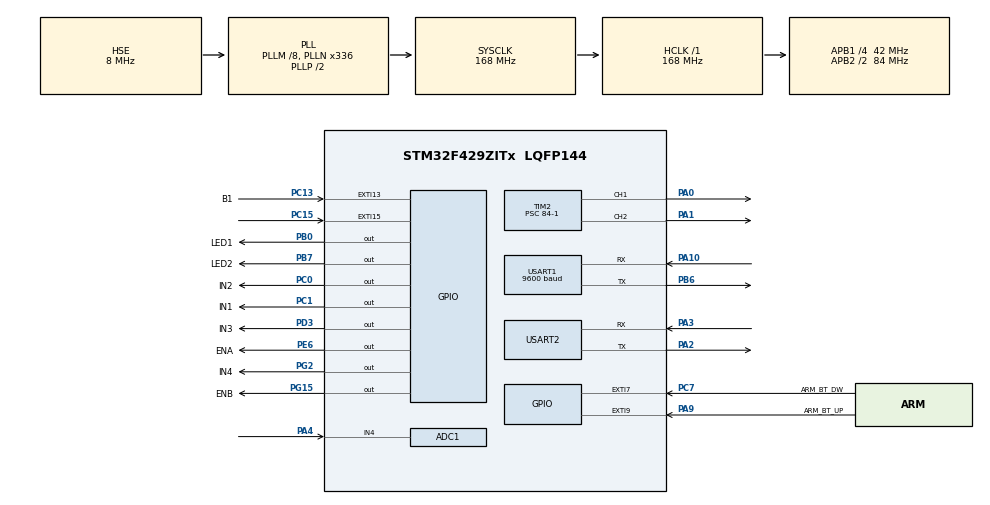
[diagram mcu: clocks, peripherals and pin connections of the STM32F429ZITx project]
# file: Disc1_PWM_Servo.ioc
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ADC1.Channel-0\#ChannelRegularConversion=ADC_CHANNEL_4
ADC1.ContinuousConvMode=ENABLE
ADC1.NbrOfConversionFlag=1
ADC1.Rank-0\#ChannelRegularConversion=1
ADC1.SamplingTime-0\#ChannelRegularConversion=ADC_SAMPLETIME_3CYCLES
ADC1.master=1
Mcu.Family=STM32F4
Mcu.Name=STM32F429ZITx
Mcu.Package=LQFP144
NVIC.ADC_IRQn=true\:0\:0\:false\:false\:true\:true\:true
NVIC.EXTI15_10_IRQn=true\:0\:0\:false\:true\:true\:1\:true\:true
NVIC.EXTI9_5_IRQn=true\:0\:0\:false\:false\:true\:true\:true
NVIC.PriorityGroup=NVIC_PRIORITYGROUP_4
NVIC.TIM2_IRQn=true\:0\:0\:false\:false\:true\:true\:true
NVIC.TIM3_IRQn=true\:0\:0\:false\:false\:true\:true\:true
NVIC.TIM4_IRQn=true\:0\:0\:false\:false\:true\:true\:true
NVIC.USART1_IRQn=true\:0\:0\:false\:false\:true\:true\:true
NVIC.USART2_IRQn=true\:0\:0\:false\:true\:true\:2\:true\:true
PA0/WKUP.GPIO_ModeDefaultPP=GPIO_MODE_AF_PP
PA0/WKUP.GPIO_PuPd=GPIO_NOPULL
PA0/WKUP.GPIO_Speed=GPIO_SPEED_FREQ_VERY_HIGH
PA0/WKUP.Signal=S_TIM2_CH1_ETR
PA1.GPIO_ModeDefaultPP=GPIO_MODE_AF_PP
PA1.GPIO_PuPd=GPIO_NOPULL
PA1.GPIO_Speed=GPIO_SPEED_FREQ_VERY_HIGH
PA1.Signal=S_TIM2_CH2
PA10.Mode=Asynchronous
PA10.Signal=USART1_RX
PA13.Mode=Serial_Wire
PA13.Signal=SYS_JTMS-SWDIO
PA14.Mode=Serial_Wire
PA14.Signal=SYS_JTCK-SWCLK
PA2.Mode=Asynchronous
PA2.Signal=USART2_TX
PA3.Mode=Asynchronous
PA3.Signal=USART2_RX
PA4.Signal=ADCx_IN4
PA9.GPIO_Label=ARM_BT_UP
PA9.GPIO_ModeDefaultEXTI=GPIO_MODE_IT_FALLING
PA9.GPIO_PuPd=GPIO_PULLDOWN
PA9.Signal=GPXTI9
PB0.GPIO_Label=LED1
PB0.Signal=GPIO_Output
PB6.Mode=Asynchronous
PB6.Signal=USART1_TX
PB7.GPIO_Label=LED2
PB7.Signal=GPIO_Output
PC0.GPIO_Label=IN2
PC0.GPIO_ModeDefaultOutputPP=GPIO_MODE_OUTPUT_PP
PC0.GPIO_PuPd=GPIO_NOPULL
PC0.GPIO_Speed=GPIO_SPEED_FREQ_VERY_HIGH
PC0.PinState=GPIO_PIN_RESET
PC0.Signal=GPIO_Output
PC1.GPIO_Label=IN1
PC1.GPIO_ModeDefaultOutputPP=GPIO_MODE_OUTPUT_PP
PC1.GPIO_PuPd=GPIO_NOPULL
PC1.GPIO_Speed=GPIO_SPEED_FREQ_VERY_HIGH
PC1.PinState=GPIO_PIN_RESET
PC1.Signal=GPIO_Output
PC13.GPIO_Label=B1
PC13.GPIO_ModeDefaultEXTI=GPIO_MODE_IT_RISING_FALLING
PC13.GPIO_PuPd=GPIO_NOPULL
PC13.Signal=GPXTI13
PC15/OSC32_OUT.Signal=GPXTI15
PC7.GPIO_Label=ARM_BT_DW
PC7.GPIO_ModeDefaultEXTI=GPIO_MODE_IT_RISING
PC7.GPIO_PuPd=GPIO_PULLDOWN
PC7.Signal=GPXTI7
PD3.GPIO_Label=IN3
PD3.GPIO_ModeDefaultOutputPP=GPIO_MODE_OUTPUT_PP
PD3.GPIO_PuPd=GPIO_NOPULL
PD3.GPIO_Speed=GPIO_SPEED_FREQ_VERY_HIGH
PD3.PinState=GPIO_PIN_RESET
PD3.Signal=GPIO_Output
PE6.GPIO_Label=ENA
PE6.GPIO_ModeDefaultOutputPP=GPIO_MODE_OUTPUT_PP
PE6.GPIO_PuPd=GPIO_NOPULL
PE6.GPIO_Speed=GPIO_SPEED_FREQ_VERY_HIGH
PE6.PinState=GPIO_PIN_RESET
PE6.Signal=GPIO_Output
PF7.GPIO_ModeDefaultPP=GPIO_MODE_AF_PP
PF7.GPIO_PuPd=GPIO_NOPULL
PF7.GPIO_Speed=GPIO_SPEED_FREQ_LOW
PF7.Signal=S_TIM11_CH1
PF9.GPIO_ModeDefaultPP=GPIO_MODE_AF_PP
PF9.GPIO_PuPd=GPIO_NOPULL
PF9.GPIO_Speed=GPIO_SPEED_FREQ_LOW
PF9.Signal=S_TIM14_CH1
PG15.GPIO_Label=ENB
PG15.GPIO_ModeDefaultOutputPP=GPIO_MODE_OUTPUT_PP
PG15.GPIO_PuPd=GPIO_NOPULL
PG15.GPIO_Speed=GPIO_SPEED_FREQ_VERY_HIGH
PG15.PinState=GPIO_PIN_RESET
PG15.Signal=GPIO_Output
PG2.GPIO_Label=IN4
PG2.GPIO_Speed=GPIO_SPEED_FREQ_VERY_HIGH
PG2.Signal=GPIO_Output
PH0/OSC_IN.Mode=HSE-External-Oscillator
PH0/OSC_IN.Signal=RCC_OSC_IN
PH1/OSC_OUT.Mode=HSE-External-Oscillator
PH1/OSC_OUT.Signal=RCC_OSC_OUT
ProjectManager.HeapSize=0x200
ProjectManager.StackSize=0x400
ProjectManager.TargetToolchain=EWARM V8.32
RCC.48MHZClocksFreq_Value=84000000
RCC.AHBFreq_Value=168000000
RCC.APB1CLKDivider=RCC_HCLK_DIV4
RCC.APB1Freq_Value=42000000
RCC.APB1TimFreq_Value=84000000
RCC.APB2CLKDivider=RCC_HCLK_DIV2
RCC.APB2Freq_Value=84000000
RCC.APB2TimFreq_Value=168000000
RCC.CortexFreq_Value=168000000
RCC.HCLKFreq_Value=168000000
RCC.HSE_VALUE=8000000
RCC.HSI_VALUE=16000000
RCC.LSE_VALUE=32768
RCC.PLLM=8
RCC.PLLN=336
RCC.PLLSourceVirtual=RCC_PLLSOURCE_HSE
RCC.SYSCLKFreq_VALUE=168000000
RCC.SYSCLKSource=RCC_SYSCLKSOURCE_PLLCLK
RCC.VCOOutputFreq_Value=336000000
SH.ADCx_IN4.0=ADC1_IN4,IN4
SH.S_TIM11_CH1.0=TIM11_CH1
SH.S_TIM14_CH1.0=TIM14_CH1
SH.S_TIM2_CH1_ETR.0=TIM2_CH1,PWM Generation1 CH1
SH.S_TIM2_CH2.0=TIM2_CH2,PWM Generation2 CH2
TIM2.AutoReloadPreload=TIM_AUTORELOAD_PRELOAD_ENABLE
TIM2.Channel-PWM\ Generation1\ CH1=TIM_CHANNEL_1
TIM2.Channel-PWM\ Generation2\ CH2=TIM_CHANNEL_2
TIM2.Period=20000-1
TIM2.Prescaler=84-1
TIM2.Pulse-PWM\ Generation1\ CH1=500
TIM2.Pulse-PWM\ Generation2\ CH2=500
TIM3.Channel-Output\ Compare1\ No\ Output=TIM_CHANNEL_1
TIM3.OCMode_1=TIM_OCMODE_TOGGLE
TIM3.Period=1000-1
TIM3.Prescaler=8400-1
TIM4.AutoReloadPreload=TIM_AUTORELOAD_PRELOAD_ENABLE
TIM4.Channel-Output\ Compare1\ No\ Output=TIM_CHANNEL_1
TIM4.Period=100-1
TIM4.Prescaler=840-1
TIM4.Pulse-Output\ Compare1\ No\ Output=1
USART1.BaudRate=9600
USART1.VirtualMode=VM_ASYNC
USART2.VirtualMode=VM_ASYNC
VP_TIM2_VS_ClockSourceINT.Mode=Internal
VP_TIM3_VS_ClockSourceINT.Mode=Internal
VP_TIM3_VS_no_output1.Mode=Output Compare1 No Output
VP_TIM4_VS_ClockSourceINT.Mode=Internal
VP_TIM4_VS_no_output1.Mode=Output Compare1 No Output
board=custom

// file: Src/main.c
/* USER CODE BEGIN Header */
/**
******************************************************************************
* @file           : main.c
* @brief          : Main program body
******************************************************************************
* @attention
*
* <h2><center>&copy; Copyright (c) 2020 STMicroelectronics.
* All rights reserved.</center></h2>
*
* This software component is licensed by ST under BSD 3-Clause license,
* the "License"; You may not use this file except in compliance with the
* License. You may obtain a copy of the License at:
*                        opensource.org/licenses/BSD-3-Clause
*
******************************************************************************
*/
/* USER CODE END Header */

#include "main.h"

/* USER CODE BEGIN Includes */
#include "angle.h"
#include "DeQueue.h"
#include "line.h"
#include <stdlib.h>
#include <string.h>
#include <stdio.h>
#include <time.h>

/* USER CODE END Includes */

/* USER CODE BEGIN PTD */
typedef enum{
  TRUE  =       1,
  FALSE =       0
}BOOL;

typedef enum{
  ARM_UP        =       00U,
  ARM_DOWN      =       !ARM_UP
}ARM_DETC;

typedef enum{
  START,
  CONTINUE,
  STOP
}sig_type;
/* USER CODE END PTD */

/* USER CODE BEGIN PD */
#define PROGRAM 2

#define _PROJEDCT 1
//#define FALSE 0
//#define TRUE !FALSE
#define MIN_ANG 500
#define MAX_ANG MIN_ANG + 2000
#define RESOLUTION (MAX_ANG - MIN_ANG)/180.0
#define ANG_SIZE 7

#define INIT_ANG 45.0

#define BUFF_SIZE 20

#define START_X -146.0
#define START_Y 32.0

#define HIGH GPIO_PIN_SET
#define LOW GPIO_PIN_RESET

#define ENA ENA_GPIO_Port,ENA_Pin
#define ENB ENB_GPIO_Port,ENB_Pin

#define IN1 IN1_GPIO_Port,IN1_Pin
#define IN2 IN2_GPIO_Port,IN2_Pin
#define IN3 IN3_GPIO_Port,IN3_Pin
#define IN4 IN4_GPIO_Port,IN4_Pin

#define LED1 LED1_GPIO_Port,LED1_Pin
#define LED2 LED2_GPIO_Port,LED2_Pin

#define WritePin(x,y) HAL_GPIO_WritePin(x,y)

//typedef unsigned int BOOL;

/* USER CODE END PD */

ADC_HandleTypeDef hadc1;

TIM_HandleTypeDef htim2;
TIM_HandleTypeDef htim3;
TIM_HandleTypeDef htim4;

UART_HandleTypeDef huart1;
UART_HandleTypeDef huart2;

/* USER CODE BEGIN PV */
BOOL dir = TRUE;
BOOL Ready_To_Rx = FALSE;
DEG position = {0.0,0.0};
XY before = {0.0,0.0};
int leng = 0;
Dequeue queue;

char move_str[30] = "0 0 1";
int len = 0;
int k = 0;
static XY goal = {0,0};

ARM_DETC B1_PR = ARM_UP;
int i = 0;
int z =0;

int inter_count = 0;

BOOL step = FALSE;
int index = 0;

sig_type flag_sig = CONTINUE;
int t = 0;

int mode = 0;

BOOL BOUNCE = FALSE;

/* USER CODE END PV */

void SystemClock_Config(void);
static void MX_GPIO_Init(void);
static void MX_TIM2_Init(void);
static void MX_USART2_UART_Init(void);
static void MX_TIM3_Init(void);
static void MX_TIM4_Init(void);
static void MX_ADC1_Init(void);
static void MX_USART1_UART_Init(void);
static void MX_NVIC_Init(void);
/* USER CODE BEGIN PFP */
void go_strt(XY set);
/* USER CODE END PFP */

/* USER CODE BEGIN 0 */
char Rx_Buffer[BUFF_SIZE];
char Rx_indx = 0, Rx_data[2] = {0}, EndOfTrans = 0;
int Rx_Size = 0;

double angle[ANG_SIZE] = {0,30,60,90,120,150,180};
char Rx_Buffer_4[BUFF_SIZE]="0 0 0";
char RX_data[2] = {0};

//int mode = 1;
#define p(x) Rx_Buffer_4[++index] = x+0x30;
BOOL checkrange(XY endeffecter);
int x_t = 0 , y_t = 0;
BOOL flag2 = FALSE;

int step_count = 0;
int step_motor(int stp)
{
  step_count = (stp+8)%8;
  switch(step_count){
  case 0:
    WritePin(IN1,HIGH);
    WritePin(IN2,LOW);
    WritePin(IN3,HIGH);
    WritePin(IN4,LOW);
    break;

  case 1:
    WritePin(IN1,LOW);
    WritePin(IN2,LOW);
    WritePin(IN3,HIGH);
    WritePin(IN4,LOW);
    break;

  case 2:
    WritePin(IN1,LOW);
    WritePin(IN2,HIGH);
    WritePin(IN3,HIGH);
    WritePin(IN4,LOW);
    break;

  case 3:
    WritePin(IN1,LOW);
    WritePin(IN2,HIGH);
    WritePin(IN3,LOW);
    WritePin(IN4,LOW);
    break;

  case 4:
    WritePin(IN1,LOW);
    WritePin(IN2,HIGH);
    WritePin(IN3,LOW);
    WritePin(IN4,HIGH);
    break;

  case 5:
    WritePin(IN1,LOW);
    WritePin(IN2,LOW);
    WritePin(IN3,LOW);
    WritePin(IN4,HIGH);
    break;

  case 6:
    WritePin(IN1,HIGH);
    WritePin(IN2,LOW);
    WritePin(IN3,LOW);
    WritePin(IN4,HIGH);
    break;

  case 7:
    WritePin(IN1,HIGH);
    WritePin(IN2,LOW);
    WritePin(IN3,LOW);
    WritePin(IN4,LOW);
  }
  HAL_Delay(2-1);
  return step_count;
}

void TEST(void)
{
  sprintf(Rx_Buffer_4,"%d %d %d",x_t,y_t,inter_count);
  leng = strlen(Rx_Buffer_4);
#if PROGRAM == 2
  insert(&queue,Rx_Buffer_4);
#endif
  if(y_t == 100)
    flag2 =TRUE;
  if(y_t == 0)
    flag2 = FALSE;
  if(!flag2)
    x_t++, y_t++;
  else
    x_t--,y_t--;
#if PROGRAM == 1
  HAL_Delay(100);
#endif
  Ready_To_Rx = TRUE;
}

void Check()
{
  if( HAL_GPIO_ReadPin(ARM_BT_UP_GPIO_Port,ARM_BT_UP_Pin) == HIGH )
  {
    B1_PR = ARM_DOWN;
    WritePin(LED2,HIGH);
  }
  if( HAL_GPIO_ReadPin(ARM_BT_DW_GPIO_Port,ARM_BT_DW_Pin) == LOW )
  {
    B1_PR = ARM_UP;
    WritePin(LED2,LOW);
  }
}

void ReceiveData()
{
  goal.x = 0;
  goal.y = 0;

  if (is_empty(&queue) == NOT_EMPTY && Ready_To_Rx == TRUE)
  {

      strcpy(move_str, delete_front(&queue));
      len = strlen(move_str);

      int status = 1;
      goal.x = 0;
      goal.y = 0;

      z = 0;
      int format = 1;
      for (int i = len - 1; i >= 0; i--)
      {
        if (move_str[i] == ' ')
        {
          status++;
          i--;
          format = 1;
        }
        switch (status)
        {
        case 1://z
          k = move_str[i] - 0x30;
          z = k;
          //format *= 10;
          break;
        case 2://y
          if(move_str[i] == '-')
            goal.y = -goal.y;
          else{
            k = move_str[i] - 0x30;
            goal.y += (k)*format;
            format *= 10;}
          break;
        case 3://x
          if(move_str[i] == '-')
            goal.x = -goal.x;
          else{
            k = move_str[i] - 0x30;
            goal.x += (k)*format;
            format *= 10;}
        }
      }
//      goal = convert(goal);
//      position = xy_ang(goal.x, goal.y);

      if(z == 1)
      {
        goal = convert(goal);
        position = xy_ang(goal.x, goal.y);

        while(B1_PR == ARM_DOWN)//�� �ø�
        {
          i = step_motor(--i);
        }
        if(flag_sig == START)
          for(int j = 700 ; j >= 0; j--){
            i = step_motor(--i);
          }

        flag_sig = START;

        position.seta1 = INIT_ANG + rad_deg(position.seta1);
        position.seta2 =  rad_deg(position.seta2);

        def_CCR1(position.seta1); //���̵�
        def_CCR2(position.seta2);
        HAL_Delay(1000);

        while(B1_PR == ARM_UP)//�� ����
        {
          i = step_motor(++i);
          Check();
        }
        while(B1_PR == ARM_DOWN)//�� �ø�
        {
          i = step_motor(--i);
          Check();
        }
      }
      else
      {
        if(z == 2)
        {
          while(t!=500) //�� �ø�
          {
            i = step_motor(--i);
            t++;
          }
        }
        if(z == 0)
        {
          t = 0;
        }
        //move_line(goal);

        goal = convert(goal);
        position = xy_ang(goal.x, goal.y);

        position.seta1 = INIT_ANG + rad_deg(position.seta1);
        position.seta2 = /*-90.0 +*/ rad_deg(position.seta2);
        def_CCR1(position.seta1);
        def_CCR2(position.seta2);
        HAL_Delay(100-1);
        while(B1_PR == ARM_UP)//�� ����
        {
          i = step_motor(++i);
          Check();
        }
        while(B1_PR == ARM_DOWN)//�� �ø�
        {
          i = step_motor(--i);
          Check();
        }
        for(int j = 0 ; j < 45 ; j++)//�� �ø� ���� ������ ���Ҽ��� ���� �߰�
        {
          i = step_motor(--i);
        }
      }
      goal.x = 0; goal.y = 0;
      leng = 0;
  }
  else if(is_empty(&queue) == EMPTY && Ready_To_Rx == TRUE)
  {
    Ready_To_Rx = FALSE;
    flag_sig = STOP;
    init_dqueue(&queue);
  }
}

void ReceiveData_1()
{
  goal.x = 0;
  goal.y = 0;

  if (is_empty(&queue) == NOT_EMPTY && Ready_To_Rx == TRUE)
  {

      strcpy(move_str, delete_front(&queue));
      len = strlen(move_str);

      int status = 1;
      goal.x = 0;
      goal.y = 0;

      z = 0;
      int format = 1;
      for (int i = len - 1; i >= 0; i--)
      {
        if (move_str[i] == ' ')
        {
          status++;
          i--;
          format = 1;
        }
        switch (status)
        {
        case 1://z
          k = move_str[i] - 0x30;
          z = k;
          //format *= 10;
          break;
        case 2://y
          if(move_str[i] == '-')
            goal.y = -goal.y;
          else{
            k = move_str[i] - 0x30;
            goal.y += (k)*format;
            format *= 10;}
          break;
        case 3://x
          if(move_str[i] == '-')
            goal.x = -goal.x;
          else{
            k = move_str[i] - 0x30;
            goal.x += (k)*format;
            format *= 10;}
        }
      }
//      goal = convert(goal);
//      position = xy_ang(goal.x, goal.y);

      if(z == 1)
      {
        //**
        before = goal;
        //**

        goal = convert(goal);
        position = xy_ang(goal.x, goal.y);

        while(B1_PR == ARM_DOWN)//�� �ø�
        {
          i = step_motor(--i);
        }
        if(flag_sig == START)
          for(int j = 700 ; j >= 0; j--){
            i = step_motor(--i);
          }

        flag_sig = START;

        position.seta1 = INIT_ANG + rad_deg(position.seta1);
        position.seta2 =  rad_deg(position.seta2);

        def_CCR1(position.seta1); //���̵�
        def_CCR2(position.seta2);
        HAL_Delay(1000);

        while(B1_PR == ARM_UP)//�� ����
        {
          i = step_motor(++i);
          Check();
        }
        while(B1_PR == ARM_DOWN)//�� �ø�
        {
          i = step_motor(--i);
          Check();
        }
      }
      else
      {
        if(z == 2)
        {
          while(t!=500) //�� �ø�
          {
            i = step_motor(--i);
            t++;
          }
        }
        if(z == 0)
        {
          t = 0;
        }
        /*
              �̰��� �������� �̾��ִ� �Լ� �߰�
        */

       draw_line(&before,&goal);
       before = goal;

        //////////////////////////////////////////////////////
//        goal = convert(goal);
//        position = xy_ang(goal.x, goal.y);
//
//        position.seta1 = INIT_ANG + rad_deg(position.seta1);
//        position.seta2 = /*-90.0 +*/ rad_deg(position.seta2);
//        def_CCR1(position.seta1);
//        def_CCR2(position.seta2);
        HAL_Delay(100-1);
        while(B1_PR == ARM_UP)//�� ����
        {
          i = step_motor(++i);
          Check();
        }
        while(B1_PR == ARM_DOWN)//�� �ø�
        {
          i = step_motor(--i);
          Check();
        }
        for(int j = 0 ; j < 45 ; j++)//�� �ø� ���� ������ ���Ҽ��� ���� �߰�
        {
          i = step_motor(--i);
        }
      }
      goal.x = 0; goal.y = 0;
      leng = 0;
  }
  else if(is_empty(&queue) == EMPTY && Ready_To_Rx == TRUE)
  {
    Ready_To_Rx = FALSE;
    flag_sig = STOP;
    init_dqueue(&queue);
  }
}

/* USER CODE END 0 */

int main(void)
{

  /* MCU Configuration--------------------------------------------------------*/

  /* Reset of all peripherals, Initializes the Flash interface and the Systick. */
  HAL_Init();

  /* Configure the system clock */
  SystemClock_Config();

  /* Initialize all configured peripherals */
  MX_GPIO_Init();
  MX_TIM2_Init();
  MX_USART2_UART_Init();
  MX_TIM3_Init();
  MX_TIM4_Init();
  MX_ADC1_Init();
  MX_USART1_UART_Init();

  /* Initialize interrupts */
  MX_NVIC_Init();
  /* USER CODE BEGIN 2 */

  init_dqueue(&queue);

  volatile int a = 0;

  HAL_TIM_PWM_Start(&htim2, TIM_CHANNEL_1);
  HAL_TIM_PWM_Start(&htim2, TIM_CHANNEL_2);

 def_CCR1(0); def_CCR2(0);

  goal = convert(goal);
  position = xy_ang(goal.x, goal.y);

  position.seta1 = INIT_ANG + rad_deg(position.seta1);
  position.seta2 = rad_deg(position.seta2);

  def_CCR1(position.seta1);
  def_CCR2(position.seta2);

  HAL_UART_Receive_IT(&huart2,(uint8_t*)Rx_Buffer,1);
  HAL_UART_Receive_IT(&huart1,(uint8_t*)Rx_Buffer,1);
  HAL_TIM_Base_Start_IT(&htim4);

  B1_PR = ARM_UP;
  /* USER CODE END 2 */

  /* Infinite loop */
  while (1)
  {

    /* USER CODE BEGIN 3 */
#if PROGRAM == 1
    ReceiveData_2();
#elif PROGRAM == 2
    if(flag_sig == STOP)
    {
      while(mode != 800) //�� �ø�
      {
        i = step_motor(--i);
        mode++;
      }
      mode = 0;
      goal.x = goal.y = 0.0;
      goal = convert(goal);
      position = xy_ang(goal.x, goal.y);

      position.seta1 = INIT_ANG + rad_deg(position.seta1);
      position.seta2 = rad_deg(position.seta2);

      def_CCR1(position.seta1);
      def_CCR2(position.seta2);
      HAL_UART_Receive_IT(&huart2,(uint8_t*)Rx_Buffer,1);
      HAL_UART_Receive_IT(&huart1,(uint8_t*)Rx_Buffer,1);
      flag_sig = CONTINUE;
    }
    ReceiveData();
    //    def_CCR1(0); def_CCR2(0);
#endif

  }
  /* USER CODE END 3 */
}

void SystemClock_Config(void)
{
  RCC_OscInitTypeDef RCC_OscInitStruct = {0};
  RCC_ClkInitTypeDef RCC_ClkInitStruct = {0};

  /** Configure the main internal regulator output voltage
  */
  __HAL_RCC_PWR_CLK_ENABLE();
  __HAL_PWR_VOLTAGESCALING_CONFIG(PWR_REGULATOR_VOLTAGE_SCALE1);
  /** Initializes the CPU, AHB and APB busses clocks
  */
  RCC_OscInitStruct.OscillatorType = RCC_OSCILLATORTYPE_HSE;
  RCC_OscInitStruct.HSEState = RCC_HSE_ON;
  RCC_OscInitStruct.PLL.PLLState = RCC_PLL_ON;
  RCC_OscInitStruct.PLL.PLLSource = RCC_PLLSOURCE_HSE;
  RCC_OscInitStruct.PLL.PLLM = 8;
  RCC_OscInitStruct.PLL.PLLN = 336;
  RCC_OscInitStruct.PLL.PLLP = RCC_PLLP_DIV2;
  RCC_OscInitStruct.PLL.PLLQ = 4;
  if (HAL_RCC_OscConfig(&RCC_OscInitStruct) != HAL_OK)
  {
    Error_Handler();
  }
  /** Initializes the CPU, AHB and APB busses clocks
  */
  RCC_ClkInitStruct.ClockType = RCC_CLOCKTYPE_HCLK|RCC_CLOCKTYPE_SYSCLK
                              |RCC_CLOCKTYPE_PCLK1|RCC_CLOCKTYPE_PCLK2;
  RCC_ClkInitStruct.SYSCLKSource = RCC_SYSCLKSOURCE_PLLCLK;
  RCC_ClkInitStruct.AHBCLKDivider = RCC_SYSCLK_DIV1;
  RCC_ClkInitStruct.APB1CLKDivider = RCC_HCLK_DIV4;
  RCC_ClkInitStruct.APB2CLKDivider = RCC_HCLK_DIV2;

  if (HAL_RCC_ClockConfig(&RCC_ClkInitStruct, FLASH_LATENCY_5) != HAL_OK)
  {
    Error_Handler();
  }
}

/**
  * @brief NVIC Configuration.
  * @retval None
  */
static void MX_NVIC_Init(void)
{
  /* EXTI15_10_IRQn interrupt configuration */
  HAL_NVIC_SetPriority(EXTI15_10_IRQn, 0, 0);
  HAL_NVIC_EnableIRQ(EXTI15_10_IRQn);
  /* USART2_IRQn interrupt configuration */
  HAL_NVIC_SetPriority(USART2_IRQn, 0, 0);
  HAL_NVIC_EnableIRQ(USART2_IRQn);
}

static void MX_ADC1_Init(void)
{

  ADC_ChannelConfTypeDef sConfig = {0};

  /** Configure the global features of the ADC (Clock, Resolution, Data Alignment and number of conversion)
  */
  hadc1.Instance = ADC1;
  hadc1.Init.ClockPrescaler = ADC_CLOCK_SYNC_PCLK_DIV4;
  hadc1.Init.Resolution = ADC_RESOLUTION_12B;
  hadc1.Init.ScanConvMode = DISABLE;
  hadc1.Init.ContinuousConvMode = ENABLE;
  hadc1.Init.DiscontinuousConvMode = DISABLE;
  hadc1.Init.ExternalTrigConvEdge = ADC_EXTERNALTRIGCONVEDGE_NONE;
  hadc1.Init.ExternalTrigConv = ADC_SOFTWARE_START;
  hadc1.Init.DataAlign = ADC_DATAALIGN_RIGHT;
  hadc1.Init.NbrOfConversion = 1;
  hadc1.Init.DMAContinuousRequests = DISABLE;
  hadc1.Init.EOCSelection = ADC_EOC_SINGLE_CONV;
  if (HAL_ADC_Init(&hadc1) != HAL_OK)
  {
    Error_Handler();
  }
  /** Configure for the selected ADC regular channel its corresponding rank in the sequencer and its sample time.
  */
  sConfig.Channel = ADC_CHANNEL_4;
  sConfig.Rank = 1;
  sConfig.SamplingTime = ADC_SAMPLETIME_3CYCLES;
  if (HAL_ADC_ConfigChannel(&hadc1, &sConfig) != HAL_OK)
  {
    Error_Handler();
  }

}

static void MX_TIM2_Init(void)
{

  TIM_ClockConfigTypeDef sClockSourceConfig = {0};
  TIM_MasterConfigTypeDef sMasterConfig = {0};
  TIM_OC_InitTypeDef sConfigOC = {0};

  htim2.Instance = TIM2;
  htim2.Init.Prescaler = 84-1;
  htim2.Init.CounterMode = TIM_COUNTERMODE_UP;
  htim2.Init.Period = 20000-1;
  htim2.Init.ClockDivision = TIM_CLOCKDIVISION_DIV1;
  htim2.Init.AutoReloadPreload = TIM_AUTORELOAD_PRELOAD_ENABLE;
  if (HAL_TIM_Base_Init(&htim2) != HAL_OK)
  {
    Error_Handler();
  }
  sClockSourceConfig.ClockSource = TIM_CLOCKSOURCE_INTERNAL;
  if (HAL_TIM_ConfigClockSource(&htim2, &sClockSourceConfig) != HAL_OK)
  {
    Error_Handler();
  }
  if (HAL_TIM_PWM_Init(&htim2) != HAL_OK)
  {
    Error_Handler();
  }
  sMasterConfig.MasterOutputTrigger = TIM_TRGO_RESET;
  sMasterConfig.MasterSlaveMode = TIM_MASTERSLAVEMODE_DISABLE;
  if (HAL_TIMEx_MasterConfigSynchronization(&htim2, &sMasterConfig) != HAL_OK)
  {
    Error_Handler();
  }
  sConfigOC.OCMode = TIM_OCMODE_PWM1;
  sConfigOC.Pulse = 500;
  sConfigOC.OCPolarity = TIM_OCPOLARITY_HIGH;
  sConfigOC.OCFastMode = TIM_OCFAST_DISABLE;
  if (HAL_TIM_PWM_ConfigChannel(&htim2, &sConfigOC, TIM_CHANNEL_1) != HAL_OK)
  {
    Error_Handler();
  }
  if (HAL_TIM_PWM_ConfigChannel(&htim2, &sConfigOC, TIM_CHANNEL_2) != HAL_OK)
  {
    Error_Handler();
  }
  HAL_TIM_MspPostInit(&htim2);

}

static void MX_TIM3_Init(void)
{

  TIM_ClockConfigTypeDef sClockSourceConfig = {0};
  TIM_MasterConfigTypeDef sMasterConfig = {0};
  TIM_OC_InitTypeDef sConfigOC = {0};

  htim3.Instance = TIM3;
  htim3.Init.Prescaler = 8400-1;
  htim3.Init.CounterMode = TIM_COUNTERMODE_UP;
  htim3.Init.Period = 1000-1;
  htim3.Init.ClockDivision = TIM_CLOCKDIVISION_DIV1;
  htim3.Init.AutoReloadPreload = TIM_AUTORELOAD_PRELOAD_DISABLE;
  if (HAL_TIM_Base_Init(&htim3) != HAL_OK)
  {
    Error_Handler();
  }
  sClockSourceConfig.ClockSource = TIM_CLOCKSOURCE_INTERNAL;
  if (HAL_TIM_ConfigClockSource(&htim3, &sClockSourceConfig) != HAL_OK)
  {
    Error_Handler();
  }
  if (HAL_TIM_OC_Init(&htim3) != HAL_OK)
  {
    Error_Handler();
  }
  sMasterConfig.MasterOutputTrigger = TIM_TRGO_RESET;
  sMasterConfig.MasterSlaveMode = TIM_MASTERSLAVEMODE_DISABLE;
  if (HAL_TIMEx_MasterConfigSynchronization(&htim3, &sMasterConfig) != HAL_OK)
  {
    Error_Handler();
  }
  sConfigOC.OCMode = TIM_OCMODE_TOGGLE;
  sConfigOC.Pulse = 0;
  sConfigOC.OCPolarity = TIM_OCPOLARITY_HIGH;
  sConfigOC.OCFastMode = TIM_OCFAST_DISABLE;
  if (HAL_TIM_OC_ConfigChannel(&htim3, &sConfigOC, TIM_CHANNEL_1) != HAL_OK)
  {
    Error_Handler();
  }

}

static void MX_TIM4_Init(void)
{

  TIM_ClockConfigTypeDef sClockSourceConfig = {0};
  TIM_MasterConfigTypeDef sMasterConfig = {0};
  TIM_OC_InitTypeDef sConfigOC = {0};

  htim4.Instance = TIM4;
  htim4.Init.Prescaler = 840-1;
  htim4.Init.CounterMode = TIM_COUNTERMODE_UP;
  htim4.Init.Period = 100-1;
  htim4.Init.ClockDivision = TIM_CLOCKDIVISION_DIV1;
  htim4.Init.AutoReloadPreload = TIM_AUTORELOAD_PRELOAD_ENABLE;
  if (HAL_TIM_Base_Init(&htim4) != HAL_OK)
  {
    Error_Handler();
  }
  sClockSourceConfig.ClockSource = TIM_CLOCKSOURCE_INTERNAL;
  if (HAL_TIM_ConfigClockSource(&htim4, &sClockSourceConfig) != HAL_OK)
  {
    Error_Handler();
  }
  if (HAL_TIM_OC_Init(&htim4) != HAL_OK)
  {
    Error_Handler();
  }
  sMasterConfig.MasterOutputTrigger = TIM_TRGO_RESET;
  sMasterConfig.MasterSlaveMode = TIM_MASTERSLAVEMODE_DISABLE;
  if (HAL_TIMEx_MasterConfigSynchronization(&htim4, &sMasterConfig) != HAL_OK)
  {
    Error_Handler();
  }
  sConfigOC.OCMode = TIM_OCMODE_TIMING;
  sConfigOC.Pulse = 1;
  sConfigOC.OCPolarity = TIM_OCPOLARITY_HIGH;
  sConfigOC.OCFastMode = TIM_OCFAST_DISABLE;
  if (HAL_TIM_OC_ConfigChannel(&htim4, &sConfigOC, TIM_CHANNEL_1) != HAL_OK)
  {
    Error_Handler();
  }

}

static void MX_USART1_UART_Init(void)
{

  huart1.Instance = USART1;
  huart1.Init.BaudRate = 9600;
  huart1.Init.WordLength = UART_WORDLENGTH_8B;
  huart1.Init.StopBits = UART_STOPBITS_1;
  huart1.Init.Parity = UART_PARITY_NONE;
  huart1.Init.Mode = UART_MODE_TX_RX;
  huart1.Init.HwFlowCtl = UART_HWCONTROL_NONE;
  huart1.Init.OverSampling = UART_OVERSAMPLING_16;
  if (HAL_UART_Init(&huart1) != HAL_OK)
  {
    Error_Handler();
  }

}

static void MX_USART2_UART_Init(void)
{

  huart2.Instance = USART2;
  huart2.Init.BaudRate = 115200;
  huart2.Init.WordLength = UART_WORDLENGTH_8B;
  huart2.Init.StopBits = UART_STOPBITS_1;
  huart2.Init.Parity = UART_PARITY_NONE;
  huart2.Init.Mode = UART_MODE_TX_RX;
  huart2.Init.HwFlowCtl = UART_HWCONTROL_NONE;
  huart2.Init.OverSampling = UART_OVERSAMPLING_16;
  if (HAL_UART_Init(&huart2) != HAL_OK)
  {
    Error_Handler();
  }

}

static void MX_GPIO_Init(void)
{
  GPIO_InitTypeDef GPIO_InitStruct = {0};

  /* GPIO Ports Clock Enable */
  __HAL_RCC_GPIOE_CLK_ENABLE();
  __HAL_RCC_GPIOC_CLK_ENABLE();
  __HAL_RCC_GPIOF_CLK_ENABLE();
  __HAL_RCC_GPIOH_CLK_ENABLE();
  __HAL_RCC_GPIOA_CLK_ENABLE();
  __HAL_RCC_GPIOB_CLK_ENABLE();
  __HAL_RCC_GPIOG_CLK_ENABLE();
  __HAL_RCC_GPIOD_CLK_ENABLE();

  /*Configure GPIO pin Output Level */
  HAL_GPIO_WritePin(ENA_GPIO_Port, ENA_Pin, GPIO_PIN_RESET);

  /*Configure GPIO pin Output Level */
  HAL_GPIO_WritePin(GPIOC, IN2_Pin|IN1_Pin, GPIO_PIN_RESET);

  /*Configure GPIO pin Output Level */
  HAL_GPIO_WritePin(GPIOB, LED1_Pin|LED2_Pin, GPIO_PIN_RESET);

  /*Configure GPIO pin Output Level */
  HAL_GPIO_WritePin(GPIOG, IN4_Pin|ENB_Pin, GPIO_PIN_RESET);

  /*Configure GPIO pin Output Level */
  HAL_GPIO_WritePin(IN3_GPIO_Port, IN3_Pin, GPIO_PIN_RESET);

  /*Configure GPIO pin : ENA_Pin */
  GPIO_InitStruct.Pin = ENA_Pin;
  GPIO_InitStruct.Mode = GPIO_MODE_OUTPUT_PP;
  GPIO_InitStruct.Pull = GPIO_NOPULL;
  GPIO_InitStruct.Speed = GPIO_SPEED_FREQ_VERY_HIGH;
  HAL_GPIO_Init(ENA_GPIO_Port, &GPIO_InitStruct);

  /*Configure GPIO pin : B1_Pin */
  GPIO_InitStruct.Pin = B1_Pin;
  GPIO_InitStruct.Mode = GPIO_MODE_IT_RISING_FALLING;
  GPIO_InitStruct.Pull = GPIO_NOPULL;
  HAL_GPIO_Init(B1_GPIO_Port, &GPIO_InitStruct);

  /*Configure GPIO pin : PC15 */
  GPIO_InitStruct.Pin = GPIO_PIN_15;
  GPIO_InitStruct.Mode = GPIO_MODE_IT_RISING;
  GPIO_InitStruct.Pull = GPIO_NOPULL;
  HAL_GPIO_Init(GPIOC, &GPIO_InitStruct);

  /*Configure GPIO pin : PF7 */
  GPIO_InitStruct.Pin = GPIO_PIN_7;
  GPIO_InitStruct.Mode = GPIO_MODE_AF_PP;
  GPIO_InitStruct.Pull = GPIO_NOPULL;
  GPIO_InitStruct.Speed = GPIO_SPEED_FREQ_LOW;
  GPIO_InitStruct.Alternate = GPIO_AF3_TIM11;
  HAL_GPIO_Init(GPIOF, &GPIO_InitStruct);

  /*Configure GPIO pin : PF9 */
  GPIO_InitStruct.Pin = GPIO_PIN_9;
  GPIO_InitStruct.Mode = GPIO_MODE_AF_PP;
  GPIO_InitStruct.Pull = GPIO_NOPULL;
  GPIO_InitStruct.Speed = GPIO_SPEED_FREQ_LOW;
  GPIO_InitStruct.Alternate = GPIO_AF9_TIM14;
  HAL_GPIO_Init(GPIOF, &GPIO_InitStruct);

  /*Configure GPIO pins : IN2_Pin IN1_Pin */
  GPIO_InitStruct.Pin = IN2_Pin|IN1_Pin;
  GPIO_InitStruct.Mode = GPIO_MODE_OUTPUT_PP;
  GPIO_InitStruct.Pull = GPIO_NOPULL;
  GPIO_InitStruct.Speed = GPIO_SPEED_FREQ_VERY_HIGH;
  HAL_GPIO_Init(GPIOC, &GPIO_InitStruct);

  /*Configure GPIO pins : LED1_Pin LED2_Pin */
  GPIO_InitStruct.Pin = LED1_Pin|LED2_Pin;
  GPIO_InitStruct.Mode = GPIO_MODE_OUTPUT_PP;
  GPIO_InitStruct.Pull = GPIO_NOPULL;
  GPIO_InitStruct.Speed = GPIO_SPEED_FREQ_LOW;
  HAL_GPIO_Init(GPIOB, &GPIO_InitStruct);

  /*Configure GPIO pins : IN4_Pin ENB_Pin */
  GPIO_InitStruct.Pin = IN4_Pin|ENB_Pin;
  GPIO_InitStruct.Mode = GPIO_MODE_OUTPUT_PP;
  GPIO_InitStruct.Pull = GPIO_NOPULL;
  GPIO_InitStruct.Speed = GPIO_SPEED_FREQ_VERY_HIGH;
  HAL_GPIO_Init(GPIOG, &GPIO_InitStruct);

  /*Configure GPIO pin : ARM_BT_DW_Pin */
  GPIO_InitStruct.Pin = ARM_BT_DW_Pin;
  GPIO_InitStruct.Mode = GPIO_MODE_IT_RISING;
  GPIO_InitStruct.Pull = GPIO_PULLDOWN;
  HAL_GPIO_Init(ARM_BT_DW_GPIO_Port, &GPIO_InitStruct);

  /*Configure GPIO pin : ARM_BT_UP_Pin */
  GPIO_InitStruct.Pin = ARM_BT_UP_Pin;
  GPIO_InitStruct.Mode = GPIO_MODE_IT_FALLING;
  GPIO_InitStruct.Pull = GPIO_PULLDOWN;
  HAL_GPIO_Init(ARM_BT_UP_GPIO_Port, &GPIO_InitStruct);

  /*Configure GPIO pin : IN3_Pin */
  GPIO_InitStruct.Pin = IN3_Pin;
  GPIO_InitStruct.Mode = GPIO_MODE_OUTPUT_PP;
  GPIO_InitStruct.Pull = GPIO_NOPULL;
  GPIO_InitStruct.Speed = GPIO_SPEED_FREQ_VERY_HIGH;
  HAL_GPIO_Init(IN3_GPIO_Port, &GPIO_InitStruct);

  /* EXTI interrupt init*/
  HAL_NVIC_SetPriority(EXTI9_5_IRQn, 0, 0);
  HAL_NVIC_EnableIRQ(EXTI9_5_IRQn);

}

/* USER CODE BEGIN 4 */
//_weak �Լ�������:�������̵�
int cur_time = 0 , pre_time = 0;
int diff_time = 0, total_time = 0;

void HAL_GPIO_EXTI_Callback(uint16_t GPIO_Pin)
{

  if(GPIO_Pin == B1_Pin)
  {
    if(B1_PR == ARM_UP)
    {
      B1_PR = ARM_DOWN;
      WritePin(LED2,HIGH);
    }
    else if(B1_PR == ARM_DOWN)
    {
      B1_PR = ARM_UP;
      WritePin(LED2,LOW);
    }
  }
  if(GPIO_Pin == ARM_BT_UP_Pin)
  {
    if(B1_PR == ARM_DOWN)
    {
      B1_PR = ARM_UP;
      WritePin(LED2,LOW);
    }
    for(volatile int i = 0 ; i <= 1000 ; i++)
      Check();
  }
  if(GPIO_Pin == ARM_BT_DW_Pin)
  {
    if(B1_PR == ARM_UP)
    {
      B1_PR = ARM_DOWN;
      WritePin(LED2,HIGH);
    }
    for(volatile int i = 0 ; i <= 1000 ; i++)
      Check();
  }
}

void HAL_TIM_PeriodElapsedCallback(TIM_HandleTypeDef *htim)
{
  if(htim->Instance == TIM4)
    Check();
}

void HAL_UART_RxCpltCallback(UART_HandleTypeDef *huart)
{

  if(huart->Instance == USART1)
  {
    Rx_Buffer_4[index++] = Rx_Buffer[0];

    if(step == FALSE && index == 2)
    {
      leng = 0;
      step = TRUE; index = 0;
      leng += (Rx_Buffer_4[0] - 0x30)*10;
      leng += (Rx_Buffer_4[1] - 0x30);
    }
    if(step == TRUE && index == leng)
    {
      step = FALSE;

      Rx_Buffer_4[index] = '\0';
      index = 0;

      if(strcmp(Rx_Buffer_4,"1") == 0)
      {
        Ready_To_Rx = TRUE;

        HAL_UART_Receive_IT(&huart1,(uint8_t*)Rx_Buffer,1);
        // flag_sig = START;
        return;
      }

      insert(&queue,Rx_Buffer_4);
    }

    HAL_UART_Receive_IT(&huart1,(uint8_t*)Rx_Buffer,1);
  }

  if(huart->Instance == USART2)
  {
    Rx_Buffer_4[index++] = Rx_Buffer[0];

    if(step == FALSE && index == 2)
    {
      leng = 0;
      step = TRUE; index = 0;
      leng += (Rx_Buffer_4[0] - 0x30)*10;
      leng += (Rx_Buffer_4[1] - 0x30);
    }
    if(step == TRUE && index == leng)
    {
      step = FALSE;

      Rx_Buffer_4[index] = '\0';
      index = 0;

      if(strcmp(Rx_Buffer_4,"1") == 0)
      {
        Ready_To_Rx = TRUE;

        HAL_UART_Receive_IT(&huart2,(uint8_t*)Rx_Buffer,1);
        // flag_sig = START;
        return;
      }

      insert(&queue,Rx_Buffer_4);
    }

    HAL_UART_Receive_IT(&huart2,(uint8_t*)Rx_Buffer,1);
  }
}

/* USER CODE END 4 */

void Error_Handler(void)
{
}

/************************ (C) COPYRIGHT STMicroelectronics *****END OF FILE****/
